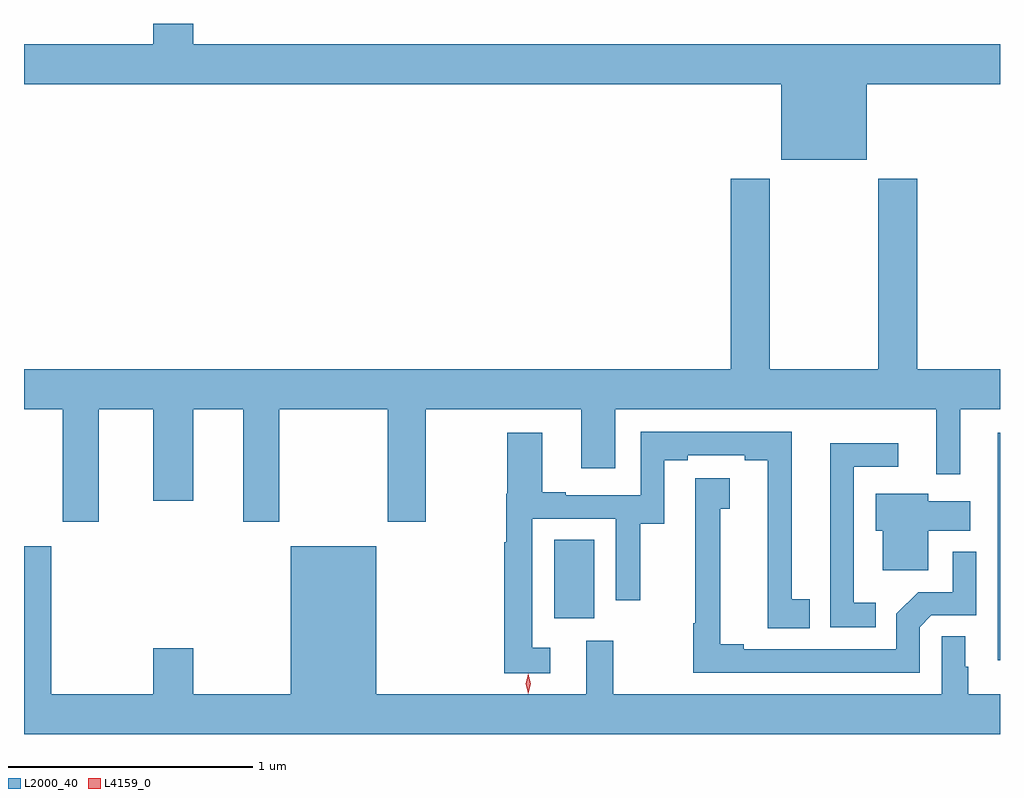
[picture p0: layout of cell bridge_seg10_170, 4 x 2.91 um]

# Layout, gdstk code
import gdstk
lib = gdstk.Library(unit=1e-6, precision=1e-09)
def R(c, l, rs):  # rectangles x0, y0, x1, y1
    for r in rs: c.add(gdstk.rectangle(r[:2], r[2:], *l))
def P(c, l, *ps):  # polygons
    for p in ps: c.add(gdstk.Polygon(p, *l))
L2000_40 = (2000, 40)
L4159_0 = (4159, 0)

bridge_seg10_170 = lib.new_cell('bridge_seg10_170')
R(bridge_seg10_170, L2000_40, [(228.41,1251.336,228.419,1252.267), (226.592,1251.507,226.756,1251.83)])
P(bridge_seg10_170, L2000_40, [(227.872,1253.696),(228.419,1253.696),(228.419,1253.86),(225.112,1253.86),(225.112,1253.944),(224.948,1253.944),(224.948,1253.86),(224.419,1253.86),(224.419,1253.696),(227.522,1253.696),(227.522,1253.387),(227.872,1253.387)],
  [(224.725,1252.364),(224.948,1252.364),(224.948,1251.99),(225.112,1251.99),(225.112,1252.364),(225.317,1252.364),(225.317,1251.903),(225.465,1251.903),(225.465,1252.364),(225.91,1252.364),(225.91,1251.903),(226.065,1251.903),(226.065,1252.364),(226.703,1252.364),(226.703,1252.122),(226.843,1252.122),(226.843,1252.364),(228.158,1252.364),(228.158,1252.098),(228.256,1252.098),(228.256,1252.364),(228.419,1252.364),(228.419,1252.528),(228.08,1252.528),(228.08,1253.308),(227.92,1253.308),(227.92,1252.528),(227.475,1252.528),(227.475,1253.308),(227.315,1253.308),(227.315,1252.528),(224.419,1252.528),(224.419,1252.364),(224.578,1252.364),(224.578,1251.903),(224.725,1251.903)],
  [(226.576,1251.387),(226.503,1251.387),(226.503,1251.915),(226.845,1251.915),(226.845,1251.582),(226.944,1251.582),(226.944,1251.895),(227.043,1251.895),(227.043,1252.156),(227.14,1252.156),(227.14,1252.176),(227.372,1252.176),(227.372,1252.156),(227.468,1252.156),(227.468,1251.466),(227.639,1251.466),(227.639,1251.585),(227.566,1251.585),(227.566,1252.272),(226.947,1252.272),(226.947,1252.011),(226.639,1252.011),(226.639,1252.024),(226.543,1252.024),(226.543,1252.267),(226.399,1252.267),(226.399,1252.018),(226.395,1252.018),(226.395,1251.818),(226.387,1251.818),(226.387,1251.282),(226.576,1251.282)],
  [(227.909,1251.572),(227.82,1251.572),(227.82,1252.128),(228.001,1252.128),(228.001,1252.225),(227.723,1252.225),(227.723,1251.674),(227.724,1251.674),(227.724,1251.471),(227.909,1251.471)],
  [(228.09,1251.471),(228.138,1251.519),(228.321,1251.519),(228.321,1251.781),(228.225,1251.781),(228.225,1251.615),(228.084,1251.615),(227.994,1251.525),(227.994,1251.381),(227.368,1251.381),(227.368,1251.401),(227.272,1251.401),(227.272,1251.956),(227.311,1251.956),(227.311,1252.081),(227.171,1252.081),(227.171,1251.488),(227.161,1251.488),(227.161,1251.285),(228.09,1251.285)],
  [(228.124,1251.866),(228.298,1251.866),(228.298,1251.988),(228.124,1251.988),(228.124,1252.018),(227.909,1252.018),(227.909,1251.866),(227.939,1251.866),(227.939,1251.704),(228.124,1251.704)],
  [(228.419,1251.196),(228.289,1251.196),(228.289,1251.309),(228.277,1251.309),(228.277,1251.434),(228.18,1251.434),(228.18,1251.196),(226.834,1251.196),(226.834,1251.415),(226.724,1251.415),(226.724,1251.196),(225.862,1251.196),(225.862,1251.802),(225.512,1251.802),(225.512,1251.196),(225.112,1251.196),(225.112,1251.385),(224.948,1251.385),(224.948,1251.196),(224.53,1251.196),(224.53,1251.802),(224.419,1251.802),(224.419,1251.032),(228.419,1251.032)])
P(bridge_seg10_170, L4159_0, [(226.485,1251.199),(226.485,1251.2),(226.475,1251.24),(226.485,1251.28),(226.485,1251.281),(226.485,1251.28),(226.495,1251.24),(226.485,1251.2)])

lib.write_gds('bridge_seg10_170.gds')
